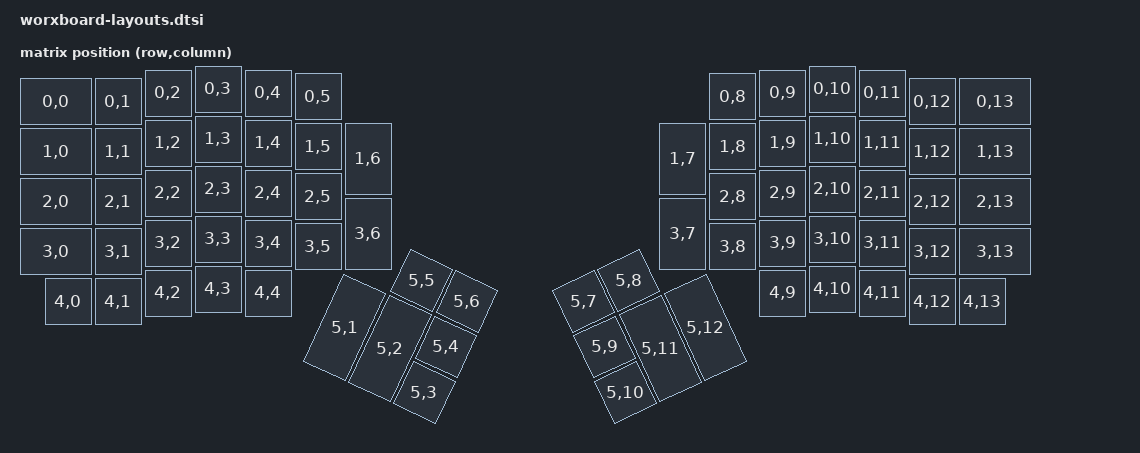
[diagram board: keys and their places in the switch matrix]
/* SPDX-License-Identifier: MIT */
/* GENERATED by firmware/zmk/scripts/gen_layouts.py from layout/build/layout.json.
 * Do not edit: run `just fw-layouts`. 74 keys in transform order (design.md §5);
 * 100 = 19.05 mm. R0C6 (left) and R0C7 (right) are the displays and are not mapped. */
#include <physical_layouts.dtsi>
#include <dt-bindings/zmk/matrix_transform.h>

/ {
    default_transform: keymap_transform_0 {
        compatible = "zmk,matrix-transform";
        columns = <14>;
        rows = <6>;
        map = <
            RC(0,0)  RC(0,1)  RC(0,2)  RC(0,3)  RC(0,4)  RC(0,5)  RC(0,8)  RC(0,9)  RC(0,10) RC(0,11) RC(0,12) RC(0,13)
            RC(1,0)  RC(1,1)  RC(1,2)  RC(1,3)  RC(1,4)  RC(1,5)  RC(1,6)  RC(1,7)  RC(1,8)  RC(1,9)  RC(1,10) RC(1,11) RC(1,12) RC(1,13)
            RC(2,0)  RC(2,1)  RC(2,2)  RC(2,3)  RC(2,4)  RC(2,5)  RC(2,8)  RC(2,9)  RC(2,10) RC(2,11) RC(2,12) RC(2,13)
            RC(3,0)  RC(3,1)  RC(3,2)  RC(3,3)  RC(3,4)  RC(3,5)  RC(3,6)  RC(3,7)  RC(3,8)  RC(3,9)  RC(3,10) RC(3,11) RC(3,12) RC(3,13)
            RC(4,0)  RC(4,1)  RC(4,2)  RC(4,3)  RC(4,4)  RC(4,9)  RC(4,10) RC(4,11) RC(4,12) RC(4,13)
            RC(5,5)  RC(5,6)  RC(5,7)  RC(5,8)
            RC(5,4)  RC(5,9)
            RC(5,1)  RC(5,2)  RC(5,3)  RC(5,10) RC(5,11) RC(5,12)
        >;
    };

    worxboard_layout: worxboard_layout {
        compatible = "zmk,physical-layout";
        display-name = "worxboard";
        transform = <&default_transform>;

        keys  //                     w   h    x    y     rot   rx   ry
            = <&key_physical_attrs 150 100    0   25       0    0    0>  //  0 L C0R0 =
            , <&key_physical_attrs 100 100  150   25       0    0    0>  //  1 L C1R0 1
            , <&key_physical_attrs 100 100  250    8       0    0    0>  //  2 L C2R0 2
            , <&key_physical_attrs 100 100  350    0       0    0    0>  //  3 L C3R0 3
            , <&key_physical_attrs 100 100  450    8       0    0    0>  //  4 L C4R0 4
            , <&key_physical_attrs 100 100  550   15       0    0    0>  //  5 L C5R0 5
            , <&key_physical_attrs 100 100 1379   15       0    0    0>  //  6 R C5R0 6
            , <&key_physical_attrs 100 100 1479    8       0    0    0>  //  7 R C4R0 7
            , <&key_physical_attrs 100 100 1579    0       0    0    0>  //  8 R C3R0 8
            , <&key_physical_attrs 100 100 1679    8       0    0    0>  //  9 R C2R0 9
            , <&key_physical_attrs 100 100 1779   25       0    0    0>  // 10 R C1R0 0
            , <&key_physical_attrs 150 100 1879   25       0    0    0>  // 11 R C0R0 -
            , <&key_physical_attrs 150 100    0  125       0    0    0>  // 12 L C0R1 DEL
            , <&key_physical_attrs 100 100  150  125       0    0    0>  // 13 L C1R1 Q
            , <&key_physical_attrs 100 100  250  108       0    0    0>  // 14 L C2R1 W
            , <&key_physical_attrs 100 100  350  100       0    0    0>  // 15 L C3R1 E
            , <&key_physical_attrs 100 100  450  108       0    0    0>  // 16 L C4R1 R
            , <&key_physical_attrs 100 100  550  115       0    0    0>  // 17 L C5R1 T
            , <&key_physical_attrs 100 150  650  115       0    0    0>  // 18 L C6R1 TG(1)
            , <&key_physical_attrs 100 150 1279  115       0    0    0>  // 19 R C6R1 TG(1)
            , <&key_physical_attrs 100 100 1379  115       0    0    0>  // 20 R C5R1 Y
            , <&key_physical_attrs 100 100 1479  108       0    0    0>  // 21 R C4R1 U
            , <&key_physical_attrs 100 100 1579  100       0    0    0>  // 22 R C3R1 I
            , <&key_physical_attrs 100 100 1679  108       0    0    0>  // 23 R C2R1 O
            , <&key_physical_attrs 100 100 1779  125       0    0    0>  // 24 R C1R1 P
            , <&key_physical_attrs 150 100 1879  125       0    0    0>  // 25 R C0R1 BSLS
            , <&key_physical_attrs 150 100    0  225       0    0    0>  // 26 L C0R2 BSPC
            , <&key_physical_attrs 100 100  150  225       0    0    0>  // 27 L C1R2 A
            , <&key_physical_attrs 100 100  250  208       0    0    0>  // 28 L C2R2 S
            , <&key_physical_attrs 100 100  350  200       0    0    0>  // 29 L C3R2 D
            , <&key_physical_attrs 100 100  450  208       0    0    0>  // 30 L C4R2 F
            , <&key_physical_attrs 100 100  550  215       0    0    0>  // 31 L C5R2 G
            , <&key_physical_attrs 100 100 1379  215       0    0    0>  // 32 R C5R2 H
            , <&key_physical_attrs 100 100 1479  208       0    0    0>  // 33 R C4R2 J
            , <&key_physical_attrs 100 100 1579  200       0    0    0>  // 34 R C3R2 K
            , <&key_physical_attrs 100 100 1679  208       0    0    0>  // 35 R C2R2 L
            , <&key_physical_attrs 100 100 1779  225       0    0    0>  // 36 R C1R2 LT(2,;)
            , <&key_physical_attrs 150 100 1879  225       0    0    0>  // 37 R C0R2 GUI_T(')
            , <&key_physical_attrs 150 100    0  325       0    0    0>  // 38 L C0R3 LSFT
            , <&key_physical_attrs 100 100  150  325       0    0    0>  // 39 L C1R3 CTL_T(Z)
            , <&key_physical_attrs 100 100  250  308       0    0    0>  // 40 L C2R3 X
            , <&key_physical_attrs 100 100  350  300       0    0    0>  // 41 L C3R3 C
            , <&key_physical_attrs 100 100  450  308       0    0    0>  // 42 L C4R3 V
            , <&key_physical_attrs 100 100  550  315       0    0    0>  // 43 L C5R3 B
            , <&key_physical_attrs 100 150  650  265       0    0    0>  // 44 L C6R2 HYPER
            , <&key_physical_attrs 100 150 1279  265       0    0    0>  // 45 R C6R2 MEH
            , <&key_physical_attrs 100 100 1379  315       0    0    0>  // 46 R C5R3 N
            , <&key_physical_attrs 100 100 1479  308       0    0    0>  // 47 R C4R3 M
            , <&key_physical_attrs 100 100 1579  300       0    0    0>  // 48 R C3R3 ,
            , <&key_physical_attrs 100 100 1679  308       0    0    0>  // 49 R C2R3 .
            , <&key_physical_attrs 100 100 1779  325       0    0    0>  // 50 R C1R3 CTL_T(/)
            , <&key_physical_attrs 150 100 1879  325       0    0    0>  // 51 R C0R3 RSFT
            , <&key_physical_attrs 100 100   50  425       0    0    0>  // 52 L C0R4 LT(1,`)
            , <&key_physical_attrs 100 100  150  425       0    0    0>  // 53 L C1R4 '
            , <&key_physical_attrs 100 100  250  408       0    0    0>  // 54 L C2R4 LA(LSFT)
            , <&key_physical_attrs 100 100  350  400       0    0    0>  // 55 L C3R4 LEFT
            , <&key_physical_attrs 100 100  450  408       0    0    0>  // 56 L C4R4 RGHT
            , <&key_physical_attrs 100 100 1479  408       0    0    0>  // 57 R C4R4 UP
            , <&key_physical_attrs 100 100 1579  400       0    0    0>  // 58 R C3R4 DOWN
            , <&key_physical_attrs 100 100 1679  408       0    0    0>  // 59 R C2R4 [
            , <&key_physical_attrs 100 100 1779  425       0    0    0>  // 60 R C1R4 ]
            , <&key_physical_attrs 100 100 1879  425       0    0    0>  // 61 R C0R4 TT(1)
            , <&key_physical_attrs 100 100  757  383    2500  807  433>  // 62 L T1   ALT_T(APP)
            , <&key_physical_attrs 100 100  848  425    2500  898  475>  // 63 L T0   LGUI
            , <&key_physical_attrs 100 100 1081  425 (-2500) 1131  475>  // 64 R T0   LALT
            , <&key_physical_attrs 100 100 1171  383 (-2500) 1221  433>  // 65 R T1   CTL_T(ESC)
            , <&key_physical_attrs 100 100  806  516    2500  856  566>  // 66 L T2   HOME
            , <&key_physical_attrs 100 100 1123  516 (-2500) 1173  566>  // 67 R T2   PGUP
            , <&key_physical_attrs 100 200  603  427    2500  653  527>  // 68 L T5   SPC
            , <&key_physical_attrs 100 200  694  469    2500  744  569>  // 69 L T4   BSPC
            , <&key_physical_attrs 100 100  763  607    2500  813  657>  // 70 L T3   END
            , <&key_physical_attrs 100 100 1165  607 (-2500) 1215  657>  // 71 R T3   PGDN
            , <&key_physical_attrs 100 200 1235  469 (-2500) 1285  569>  // 72 R T4   TAB
            , <&key_physical_attrs 100 200 1325  427 (-2500) 1375  527>  // 73 R T5   ENT
            ;
    };
};
